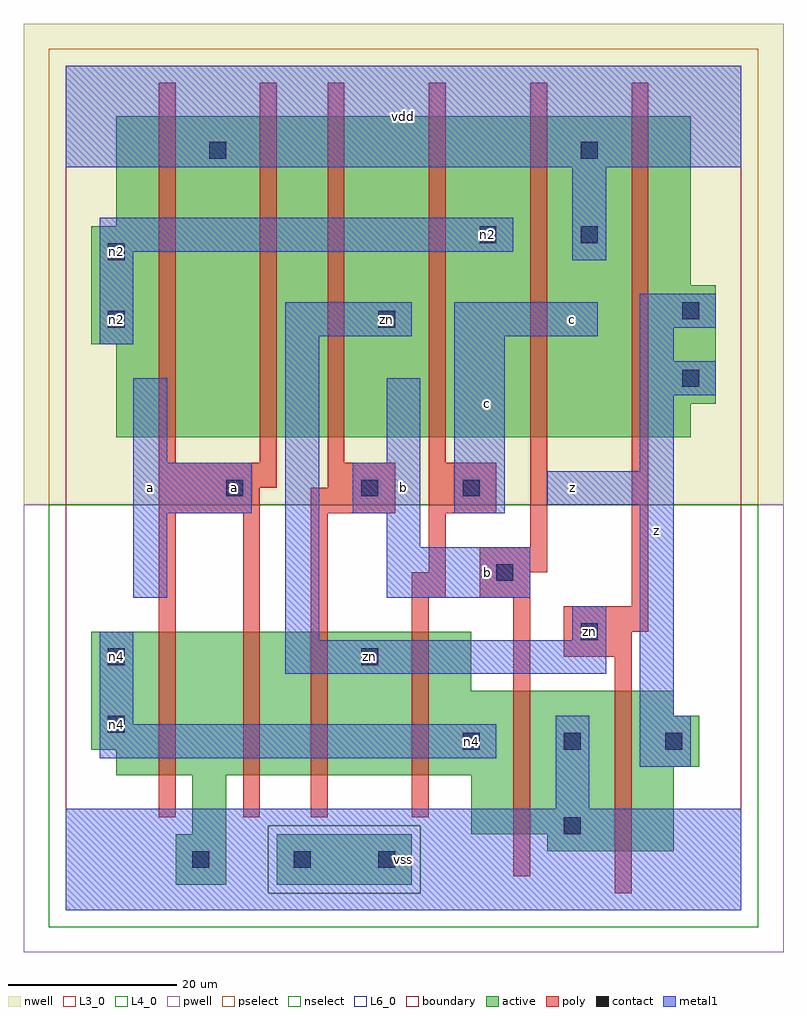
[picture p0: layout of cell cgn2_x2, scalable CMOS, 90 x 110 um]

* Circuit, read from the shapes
.subckt cgn2_x2 a b c n2 n4 vdd vss z zn
M1 vss a n4 vss nfet w=17u l=2u
M2 n1 a vss vss nfet w=17u l=2u
M3 zn b n1 vss nfet w=17u l=2u
M4 n4 c zn vss nfet w=17u l=2u
M5 vss b n4 vss nfet w=17u l=2u
M6 z zn vss vss nfet w=19u l=2u
M7 vdd a n2 n3 pfet w=38u l=2u
M8 n5 a vdd n3 pfet w=38u l=2u
M9 zn b n5 n3 pfet w=38u l=2u
M10 n2 c zn n3 pfet w=38u l=2u
M11 vdd b n2 n3 pfet w=38u l=2u
M12 z zn vdd n3 pfet w=38u l=2u
.ends

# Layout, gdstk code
import gdstk
lib = gdstk.Library(unit=1e-6, precision=1e-09)
def R(c, l, rs):  # rectangles x0, y0, x1, y1
    for r in rs: c.add(gdstk.rectangle(r[:2], r[2:], *l))
def A(c, l, x, y, w, h, nx, ny, dx, dy):  # array of equal rectangles
    R(c, l, [(x+i*dx, y+j*dy, x+i*dx+w, y+j*dy+h) for i in range(nx) for j in range(ny)])
L3_0 = (3, 0)
L4_0 = (4, 0)
L6_0 = (6, 0)
contact = (25, 0)
pwell = (41, 0)
nwell = (42, 0)
active = (43, 0)
pselect = (44, 0)
nselect = (45, 0)
poly = (46, 0)
metal1 = (49, 0)
boundary = (63, 0)

cgn2_x2 = lib.new_cell('cgn2_x2')
R(cgn2_x2, L3_0, [(13,3,19,9), (57,7,72,9), (15,9,19,16), (48,9,72,16), (6,16,72,17), (6,17,75,19), (3,19,75,23), (3,23,72,26), (3,26,48,33)])
R(cgn2_x2, L4_0, [(6,56,74,60), (6,60,77,67), (3,67,77,74), (3,74,74,81), (6,81,74,94)])
R(cgn2_x2, L6_0, [(25,3,41,9)])
A(cgn2_x2, contact, 47, 19, 2, 2, 3, 1, 12, 0)
R(cgn2_x2, contact, [(15,5,17,7), (27,5,29,7), (37,5,39,7), (59,9,61,11), (5,21,7,23), (5,29,7,31), (35,29,37,31), (61,32,63,34), (51,39,53,41), (19,49,21,51), (35,49,37,51), (47,49,49,51), (73,62,75,64), (5,69,7,71), (37,69,39,71), (73,70,75,72), (5,77,7,79), (49,79,51,81), (61,79,63,81), (17,89,19,91), (61,89,63,91)])
R(cgn2_x2, pwell, [(-5,-5,85,48)])
R(cgn2_x2, nwell, [(-5,48,85,105)])
R(cgn2_x2, active, [(13,3,19,9), (25,3,41,9), (57,7,72,9), (15,9,19,16), (48,9,72,16), (6,16,72,17), (6,17,75,19), (3,19,75,23), (3,23,72,26), (3,26,48,33), (6,56,74,60), (6,60,77,67), (3,67,77,74), (3,74,74,81), (6,81,74,94)])
R(cgn2_x2, pselect, [(24,2,42,10), (-2,48,82,102)])
R(cgn2_x2, nselect, [(-2,-2,82,2), (-2,2,24,10), (42,2,82,10), (-2,10,82,48)])
R(cgn2_x2, poly, [(65,2,67,30), (53,4,55,37), (11,11,13,47), (21,11,23,47), (29,11,31,47), (41,11,43,37), (59,30,67,33), (59,33,69,36), (67,36,69,98), (41,37,45,40), (49,37,55,40), (43,40,45,47), (49,40,57,43), (55,43,57,98), (11,47,23,50), (29,47,39,50), (43,47,51,53), (11,50,25,53), (31,50,39,53), (11,53,13,98), (23,53,25,98), (31,53,33,98), (43,53,45,98)])
R(cgn2_x2, metal1, [(0,0,80,12), (58,12,62,23), (68,17,74,23), (4,18,51,22), (4,22,8,33), (68,23,72,48), (26,28,64,32), (26,32,30,68), (60,32,64,36), (8,37,12,47), (38,37,55,43), (38,43,42,47), (8,47,22,53), (34,47,42,53), (46,47,52,68), (57,48,72,52), (68,52,72,61), (8,53,12,63), (38,53,42,63), (68,61,77,65), (68,65,72,69), (4,67,8,78), (26,68,41,72), (46,68,63,72), (68,69,77,73), (60,77,64,88), (4,78,53,82), (0,88,80,100)])
R(cgn2_x2, boundary, [(0,0,80,100)])
cgn2_x2.add(gdstk.Label('n4', (6,22), layer=49, texttype=0))
cgn2_x2.add(gdstk.Label('n4', (6,30), layer=49, texttype=0))
cgn2_x2.add(gdstk.Label('n2', (6,70), layer=49, texttype=0))
cgn2_x2.add(gdstk.Label('n2', (6,78), layer=49, texttype=0))
cgn2_x2.add(gdstk.Label('zn', (36,30), layer=49, texttype=0))
cgn2_x2.add(gdstk.Label('n4', (48,20), layer=49, texttype=0))
cgn2_x2.add(gdstk.Label('zn', (38,70), layer=49, texttype=0))
cgn2_x2.add(gdstk.Label('n2', (50,80), layer=49, texttype=0))
cgn2_x2.add(gdstk.Label('zn', (62,33), layer=49, texttype=0))
cgn2_x2.add(gdstk.Label('a', (10,50), layer=49, texttype=0))
cgn2_x2.add(gdstk.Label('a', (20,50), layer=49, texttype=0))
cgn2_x2.add(gdstk.Label('vss', (40,6), layer=49, texttype=0))
cgn2_x2.add(gdstk.Label('b', (50,40), layer=49, texttype=0))
cgn2_x2.add(gdstk.Label('b', (40,50), layer=49, texttype=0))
cgn2_x2.add(gdstk.Label('c', (50,60), layer=49, texttype=0))
cgn2_x2.add(gdstk.Label('vdd', (40,94), layer=49, texttype=0))
cgn2_x2.add(gdstk.Label('z', (70,45), layer=49, texttype=0))
cgn2_x2.add(gdstk.Label('z', (60,50), layer=49, texttype=0))
cgn2_x2.add(gdstk.Label('c', (60,70), layer=49, texttype=0))

lib.write_gds('cgn2_x2.gds')
